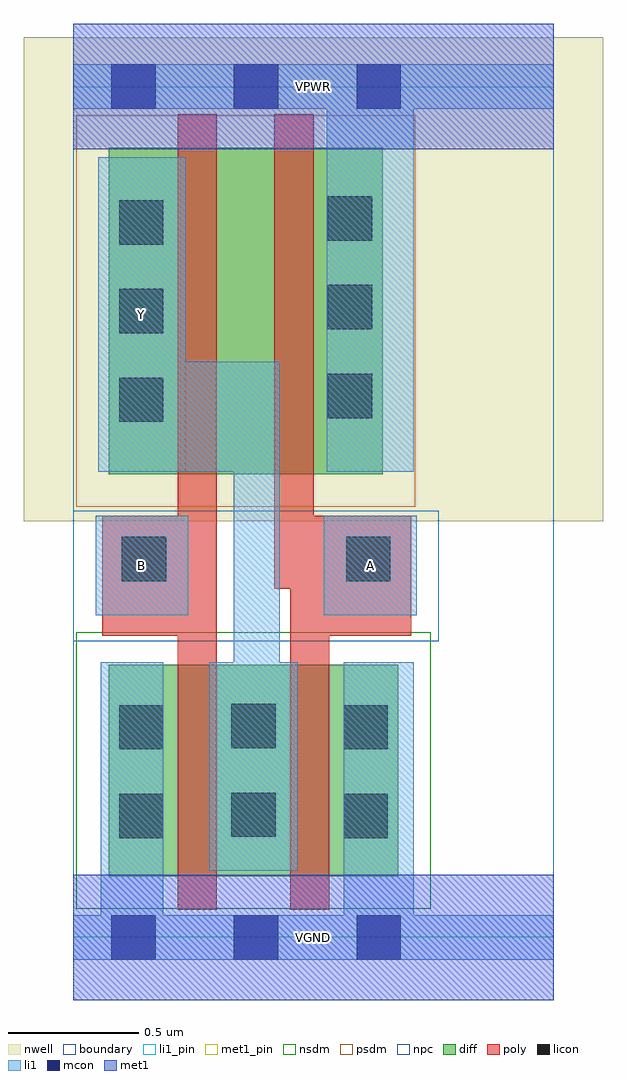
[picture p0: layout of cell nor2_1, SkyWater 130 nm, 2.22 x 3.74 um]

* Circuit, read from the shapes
.subckt nor2_1 A B VGND VPWR Y
XM1 Y B VGND VSUBS sky130_fd_pr__nfet_01v8 w=0.81 l=0.15
XM2 VGND A Y VSUBS sky130_fd_pr__nfet_01v8 w=0.81 l=0.15
XM3 n1 B Y n2 sky130_fd_pr__pfet_01v8 w=1.25 l=0.15
XM4 VPWR A n1 n2 sky130_fd_pr__pfet_01v8 w=1.25 l=0.15
.ends

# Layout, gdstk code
import gdstk
lib = gdstk.Library(unit=1e-6, precision=1e-09)
def R(c, l, rs):  # rectangles x0, y0, x1, y1
    for r in rs: c.add(gdstk.rectangle(r[:2], r[2:], *l))
def A(c, l, x, y, w, h, nx, ny, dx, dy):  # array of equal rectangles
    R(c, l, [(x+i*dx, y+j*dy, x+i*dx+w, y+j*dy+h) for i in range(nx) for j in range(ny)])
nwell = (64, 20)
diff = (65, 20)
poly = (66, 20)
licon = (66, 44)
li1_pin = (67, 16)
li1 = (67, 20)
mcon = (67, 44)
met1_pin = (68, 16)
met1 = (68, 20)
nsdm = (93, 44)
psdm = (94, 20)
npc = (95, 20)
boundary = (235, 4)

nor2_1 = lib.new_cell('nor2_1')
R(nor2_1, nwell, [(-0.19,1.595,2.03,3.45), (0,1.595,1.84,3.45)])
R(nor2_1, diff, [(0.135,0.235,1.245,1.045), (0.135,1.775,1.185,3.025)])
R(nor2_1, poly, [(0.4,0.105,0.55,3.155), (0.83,0.105,0.98,1.615), (0.11,1.155,0.55,1.615), (0.83,1.155,1.295,1.615), (0.77,1.335,0.92,3.155)])
A(nor2_1, licon, 0.175, 1.975, 0.17, 0.17, 1, 3, 0, 0.34)
A(nor2_1, licon, 0.975, 1.99, 0.17, 0.17, 1, 3, 0, 0.34)
R(nor2_1, licon, [(0.175,0.38,0.345,0.55), (1.035,0.38,1.205,0.55), (0.605,0.385,0.775,0.555), (0.175,0.72,0.345,0.89), (1.035,0.72,1.205,0.89), (0.605,0.725,0.775,0.895), (0.185,1.365,0.355,1.535), (1.045,1.365,1.215,1.535)])
R(nor2_1, li1_pin, [(0.085,1.235,0.44,1.615), (0.96,1.235,1.315,1.615), (0.095,1.785,0.43,2.99)])
R(nor2_1, li1, [(0,-0.085,1.84,0.085), (0.105,-0.085,0.345,1.055), (1.035,-0.085,1.305,1.055), (0.52,0.255,0.86,1.055), (0.615,0.255,0.79,2.205), (0.085,1.235,0.44,1.615), (0.96,1.235,1.315,1.615), (0.095,1.785,0.43,2.99), (0.095,1.785,0.79,2.205), (0.97,1.785,1.305,3.345), (0,3.175,1.84,3.345)])
A(nor2_1, mcon, 0.145, -0.085, 0.17, 0.17, 3, 2, 0.47, 3.26)
R(nor2_1, met1_pin, [(0,-0.24,1.84,0.24), (0,3.02,1.84,3.5)])
R(nor2_1, met1, [(0,-0.24,1.84,0.24), (0,3.02,1.84,3.5)])
R(nor2_1, nsdm, [(0.01,0.11,1.37,1.17)])
R(nor2_1, psdm, [(0.01,1.65,1.31,3.15)])
R(nor2_1, npc, [(0,1.135,1.4,1.635)])
R(nor2_1, boundary, [(0,0,1.84,3.26)])
nor2_1.add(gdstk.Label('A', (1.137,1.425), layer=67, texttype=5))
nor2_1.add(gdstk.Label('B', (0.262,1.425), layer=67, texttype=5))
nor2_1.add(gdstk.Label('Y', (0.262,2.387), layer=67, texttype=5))
nor2_1.add(gdstk.Label('VPWR', (0.92,3.26), layer=68, texttype=5))
nor2_1.add(gdstk.Label('VGND', (0.92,0), layer=68, texttype=5))
nor2_1.add(gdstk.Label('A', (1.137,1.425), layer=67, texttype=16))
nor2_1.add(gdstk.Label('B', (0.262,1.425), layer=67, texttype=16))
nor2_1.add(gdstk.Label('Y', (0.262,2.387), layer=67, texttype=16))
nor2_1.add(gdstk.Label('VPWR', (0.92,3.26), layer=68, texttype=16))
nor2_1.add(gdstk.Label('VGND', (0.92,0), layer=68, texttype=16))

lib.write_gds('nor2_1.gds')
